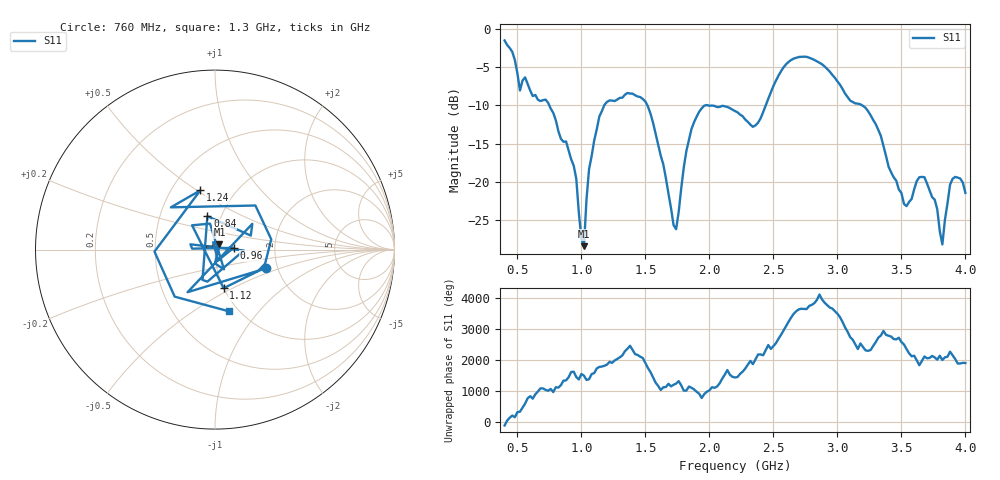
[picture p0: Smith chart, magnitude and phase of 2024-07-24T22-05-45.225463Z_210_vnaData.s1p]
!Created with skrf (http://scikit-rf.org).
# Hz S RI R 50.0
!freq ReS11 ImS11
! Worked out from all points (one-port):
!   181 points, 400 MHz to 4 GHz, reference 50 ohm
!   lowest |S11| = -28.4 dB at 1.02 GHz (marker M1), VSWR 1.08, Z = 52.4 + j3.01 ohm
!   |S11| at or under -10 dB: 1.515 GHz to 1.97 GHz (455 MHz wide, 26.1 % of centre); 1.988 GHz to 2.44 GHz (451.7 MHz wide, 20.4 % of centre); 3.193 GHz to end of sweep (the widest 3 of 4)
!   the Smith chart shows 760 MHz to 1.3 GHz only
!   S11 on the Smith chart (normalised r, x): 760 MHz: 1.73, -0.40; 840 MHz: 0.86, +0.33; 960 MHz: 1.23, +0.02; 1.12 GHz: 1.00, -0.45; 1.24 GHz: 0.69, +0.52; 1.3 GHz: 0.91, -0.71
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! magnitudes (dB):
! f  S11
! 400 MHz  -1.5
! 520 MHz  -8.1
! 560 MHz  -6.3
! 760 MHz  -10.4
! 840 MHz  -14.4
! 860 MHz  -14.8
! 960 MHz  -19.6
! 1.02 GHz  -28.4
! 1.06 GHz  -18.3
! 1.12 GHz  -13.1
! 1.24 GHz  -9.4
! 1.3 GHz  -9.0
! 1.5 GHz  -9.5
! 1.72 GHz  -25.7
! 1.76 GHz  -24.0
! 1.82 GHz  -16.0
! 1.92 GHz  -10.8
! 2.2 GHz  -10.7
! 2.36 GHz  -12.6
! 2.66 GHz  -3.9
! 3.1 GHz  -9.4
! 3.26 GHz  -11.3
! 3.56 GHz  -22.7
! 3.68 GHz  -19.4
! 3.78 GHz  -23.6
! 3.82 GHz  -28.2
! 3.9 GHz  -19.6
! 4 GHz  -21.5
